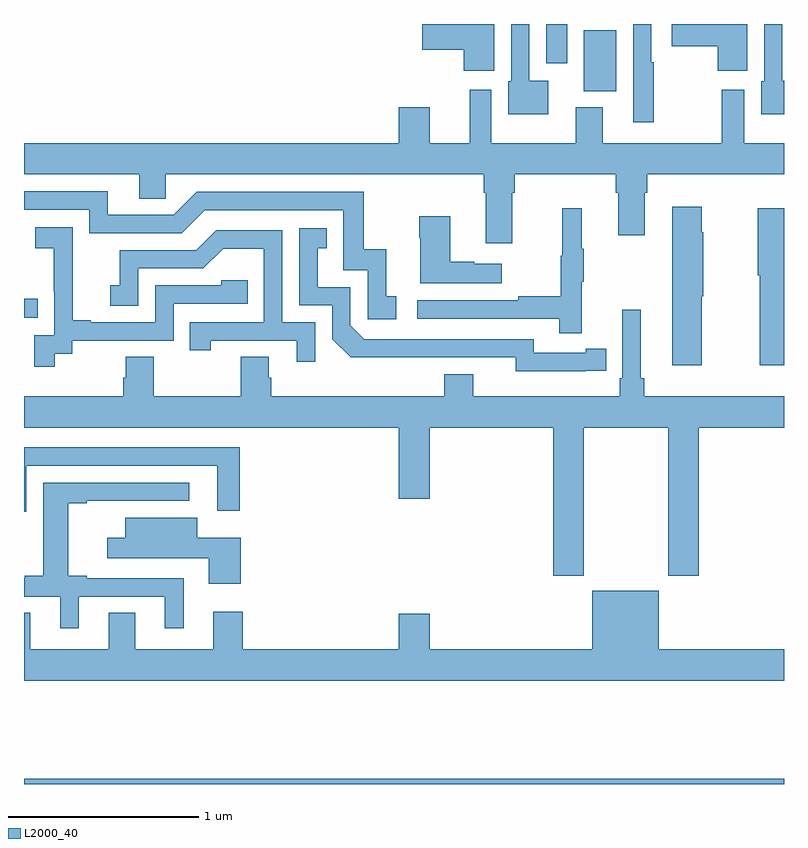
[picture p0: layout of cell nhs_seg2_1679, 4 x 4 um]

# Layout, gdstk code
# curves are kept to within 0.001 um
import gdstk
lib = gdstk.Library(unit=1e-6, precision=1e-09)
def R(c, l, rs):  # rectangles x0, y0, x1, y1
    for r in rs: c.add(gdstk.rectangle(r[:2], r[2:], *l))
def P(c, l, *ps):  # polygons
    for p in ps: c.add(gdstk.Polygon(p, *l))
L2000_40 = (2000, 40)

nhs_seg2_1679 = lib.new_cell('nhs_seg2_1679')
R(nhs_seg2_1679, L2000_40, [(199,605.8,203,605.828), (199,608.253,199.073,608.354), (201.947,609.446,202.117,609.766), (201.749,609.594,201.859,609.8)])
P(nhs_seg2_1679, L2000_40, [(201.76,609.502),(201.66,609.502),(201.66,609.8),(201.564,609.8),(201.564,609.498),(201.548,609.498),(201.548,609.326),(201.76,609.326)],
  [(203,609.502),(202.992,609.502),(202.992,609.8),(202.896,609.8),(202.896,609.498),(202.88,609.498),(202.88,609.326),(203,609.326)],
  [(201.475,609.8),(201.096,609.8),(201.096,609.665),(201.314,609.665),(201.314,609.555),(201.475,609.555)],
  [(202.315,609.599),(202.302,609.599),(202.302,609.8),(202.206,609.8),(202.206,609.282),(202.315,609.282)],
  [(202.807,609.8),(202.41,609.8),(202.41,609.683),(202.651,609.683),(202.651,609.555),(202.807,609.555)],
  [(201.571,608.912),(201.584,608.912),(201.584,609.008),(202.115,609.008),(202.115,608.912),(202.127,608.912),(202.127,608.688),(202.267,608.688),(202.267,608.912),(202.28,608.912),(202.28,609.008),(203,609.008),(203,609.172),(202.792,609.172),(202.792,609.454),(202.672,609.454),(202.672,609.172),(202.045,609.172),(202.045,609.361),(201.905,609.361),(201.905,609.172),(201.46,609.172),(201.46,609.454),(201.347,609.454),(201.347,609.172),(201.136,609.172),(201.136,609.361),(200.972,609.361),(200.972,609.172),(199,609.172),(199,609.008),(199.607,609.008),(199.607,608.881),(199.746,608.881),(199.746,609.008),(201.419,609.008),(201.419,608.912),(201.431,608.912),(201.431,608.646),(201.571,608.646)],
  [(200.959,608.367),(200.906,608.367),(200.906,608.614),(200.788,608.614),(200.788,608.916),(199.908,608.916),(199.788,608.796),(199.441,608.796),(199.441,608.919),(199,608.919),(199,608.823),(199.344,608.823),(199.344,608.7),(199.83,608.7),(199.95,608.82),(200.679,608.82),(200.679,608.505),(200.808,608.505),(200.808,608.247),(200.959,608.247)],
  [(202.566,608.367),(202.576,608.367),(202.576,608.703),(202.566,608.703),(202.566,608.839),(202.412,608.839),(202.412,608.004),(202.566,608.004)],
  [(203,608.83),(202.862,608.83),(202.862,608.478),(202.873,608.478),(202.873,608.004),(203,608.004)],
  [(201.935,608.443),(201.946,608.443),(201.946,608.617),(201.935,608.617),(201.935,608.83),(201.832,608.83),(201.832,608.58),(201.825,608.58),(201.825,608.366),(201.601,608.366),(201.601,608.346),(201.069,608.346),(201.069,608.25),(201.817,608.25),(201.817,608.172),(201.935,608.172)],
  [(201.514,608.539),(201.371,608.539),(201.371,608.549),(201.244,608.549),(201.244,608.788),(201.079,608.788),(201.079,608.675),(201.086,608.675),(201.086,608.435),(201.514,608.435)],
  [(199.162,608.065),(199.254,608.065),(199.254,608.133),(199.788,608.133),(199.788,608.328),(200.177,608.328),(200.177,608.451),(200.037,608.451),(200.037,608.424),(199.692,608.424),(199.692,608.229),(199.351,608.229),(199.351,608.242),(199.256,608.242),(199.256,608.525),(199.257,608.525),(199.257,608.731),(199.059,608.731),(199.059,608.621),(199.157,608.621),(199.157,608.393),(199.158,608.393),(199.158,608.163),(199.053,608.163),(199.053,607.995),(199.162,607.995)],
  [(201.956,607.974),(202.064,607.974),(202.064,608.09),(201.956,608.09),(201.956,608.07),(201.684,608.07),(201.684,608.142),(200.79,608.142),(200.718,608.214),(200.718,608.415),(200.545,608.415),(200.545,608.619),(200.594,608.619),(200.594,608.725),(200.448,608.725),(200.448,608.319),(200.622,608.319),(200.622,608.142),(200.72,608.045),(201.588,608.046),(201.588,607.973)],
  [(200.532,608.229),(200.358,608.229),(200.358,608.715),(200.012,608.715),(199.907,608.61),(199.504,608.61),(199.504,608.425),(199.455,608.425),(199.455,608.316),(199.602,608.316),(199.602,608.514),(199.944,608.514),(200.048,608.618),(200.262,608.618),(200.262,608.229),(199.873,608.229),(199.873,608.082),(199.984,608.082),(199.984,608.133),(200.435,608.133),(200.435,608.022),(200.532,608.022)],
  [(201.945,607.676),(202.39,607.676),(202.39,606.897),(202.55,606.897),(202.55,607.676),(203,607.676),(203,607.84),(202.265,607.84),(202.265,607.936),(202.246,607.936),(202.246,608.296),(202.149,608.296),(202.149,607.936),(202.136,607.936),(202.136,607.84),(201.364,607.84),(201.364,607.957),(201.212,607.957),(201.212,607.84),(200.3,607.84),(200.3,607.938),(200.287,607.938),(200.287,608.048),(200.14,608.048),(200.14,607.84),(199.683,607.84),(199.683,608.048),(199.535,608.048),(199.535,607.938),(199.523,607.938),(199.523,607.84),(199,607.84),(199,607.676),(200.972,607.676),(200.972,607.302),(201.136,607.302),(201.136,607.676),(201.785,607.676),(201.785,606.897),(201.945,606.897)],
  [(199.011,607.476),(200.018,607.476),(200.018,607.239),(200.135,607.239),(200.135,607.572),(199,607.572),(199,607.233),(199.011,607.233)],
  [(199.288,606.786),(199.742,606.786),(199.742,606.621),(199.84,606.621),(199.84,606.882),(199.33,606.882),(199.33,606.895),(199.234,606.895),(199.234,607.278),(199.33,607.278),(199.33,607.29),(199.87,607.29),(199.87,607.386),(199.1,607.386),(199.1,606.895),(199.004,606.895),(199.004,606.882),(199,606.882),(199,606.786),(199.19,606.786),(199.19,606.621),(199.288,606.621)],
  [(200.14,607.096),(199.912,607.096),(199.912,607.201),(199.532,607.201),(199.532,607.096),(199.437,607.096),(199.437,606.989),(199.973,606.989),(199.973,606.855),(200.14,606.855)],
  [(203,606.508),(202.342,606.508),(202.342,606.817),(201.992,606.817),(201.992,606.508),(201.136,606.508),(201.136,606.697),(200.972,606.697),(200.972,606.508),(200.15,606.508),(200.15,606.706),(199.997,606.706),(199.997,606.508),(199.585,606.508),(199.585,606.701),(199.445,606.701),(199.445,606.508),(199.033,606.508),(199.033,606.701),(199,606.701),(199,606.344),(203,606.344)])

lib.write_gds('nhs_seg2_1679.gds')
